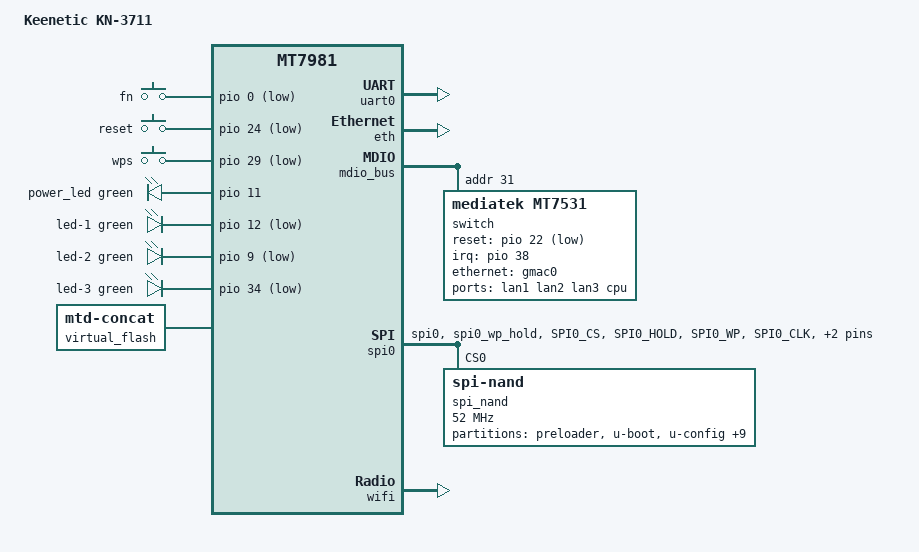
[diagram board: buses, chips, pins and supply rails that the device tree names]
// SPDX-License-Identifier: GPL-2.0-only OR MIT

/dts-v1/;

#include "mt7981b.dtsi"

/ {
	model = "Keenetic KN-3711";
	compatible = "keenetic,kn-3711", "mediatek,mt7981";

	aliases {
		label-mac-device = &gmac0;
		led-boot = &power_led;
		led-failsafe = &power_led;
		led-running = &power_led;
		led-upgrade = &power_led;
		serial0 = &uart0;
	};

	chosen {
		stdout-path = "serial0:115200n8";
	};

	gpio-keys {
		compatible = "gpio-keys";

		switch-fn {
			label = "fn";
			gpios = <&pio 0 GPIO_ACTIVE_LOW>;
			linux,code = <BTN_0>;
			linux,input-type = <EV_SW>;
		};

		button-reset {
			label = "reset";
			gpios = <&pio 24 GPIO_ACTIVE_LOW>;
			linux,code = <KEY_RESTART>;
		};

		button-wps {
			label = "wps";
			gpios = <&pio 29 GPIO_ACTIVE_LOW>;
			linux,code = <KEY_WPS_BUTTON>;
		};
	};

	gpio-leds {
		compatible = "gpio-leds";

		power_led: led-0 {
			color = <LED_COLOR_ID_GREEN>;
			function = LED_FUNCTION_POWER;
			gpios = <&pio 11 GPIO_ACTIVE_HIGH>;
		};

		led-1 {
			color = <LED_COLOR_ID_GREEN>;
			function = LED_FUNCTION_WAN;
			gpios = <&pio 12 GPIO_ACTIVE_LOW>;
		};

		led-2 {
			color = <LED_COLOR_ID_GREEN>;
			function = "fn";
			gpios = <&pio 9 GPIO_ACTIVE_LOW>;
		};

		led-3 {
			color = <LED_COLOR_ID_GREEN>;
			function = LED_FUNCTION_WLAN_2GHZ;
			gpios = <&pio 34 GPIO_ACTIVE_LOW>;
			linux,default-trigger = "phy0tpt";
		};
	};

	virtual_flash {
		compatible = "mtd-concat";
		devices = <&firmware1 &firmware2>;

		partitions {
			compatible = "fixed-partitions";
			#address-cells = <1>;
			#size-cells = <1>;

			partition@0 {
				label = "kernel";
				reg = <0x0 0x600000>;
			};

			partition@600000 {
				label = "ubi";
				reg = <0x600000 0x06000000>;
			};
		};
	};
};

&uart0 {
	status = "okay";
};

&eth {
	status = "okay";

	gmac0: mac@0 {
		compatible = "mediatek,eth-mac";
		reg = <0>;
		phy-mode = "2500base-x";

		nvmem-cell-names = "mac-address";
		nvmem-cells = <&macaddr_factory_4>;

		fixed-link {
			speed = <2500>;
			full-duplex;
			pause;
		};
	};

	mac@1 {
		compatible = "mediatek,eth-mac";
		reg = <1>;
		phy-mode = "gmii";
		phy-handle = <&int_gbe_phy>;
		label = "wan";

		nvmem-cell-names = "mac-address";
		nvmem-cells = <&macaddr_factory_a>;
	};
};

&mdio_bus {
	switch@1f {
		compatible = "mediatek,mt7531";
		reg = <0x1f>;
		reset-gpios = <&pio 22 GPIO_ACTIVE_LOW>;
		interrupt-controller;
		#interrupt-cells = <1>;
		interrupt-parent = <&pio>;
		interrupts = <38 IRQ_TYPE_LEVEL_HIGH>;

		ports {
			#address-cells = <1>;
			#size-cells = <0>;

			port@0 {
				reg = <0>;
				label = "lan1";
			};

			port@1 {
				reg = <1>;
				label = "lan2";
			};

			port@2 {
				reg = <2>;
				label = "lan3";
			};

			port@6 {
				reg = <6>;
				label = "cpu";
				ethernet = <&gmac0>;
				phy-mode = "2500base-x";

				fixed-link {
					speed = <2500>;
					full-duplex;
					pause;
				};
			};
		};
	};
};

&pio {
	spi0_flash_pins: spi0-pins {
		mux {
			function = "spi";
			groups = "spi0", "spi0_wp_hold";
		};

		conf-pu {
			pins = "SPI0_CS", "SPI0_HOLD", "SPI0_WP";
			drive-strength = <MTK_DRIVE_8mA>;
			bias-pull-up = <MTK_PUPD_SET_R1R0_11>;
		};

		conf-pd {
			pins = "SPI0_CLK", "SPI0_MOSI", "SPI0_MISO";
			drive-strength = <MTK_DRIVE_8mA>;
			bias-pull-down = <MTK_PUPD_SET_R1R0_11>;
		};
	};
};

&spi0 {
	pinctrl-names = "default";
	pinctrl-0 = <&spi0_flash_pins>;
	status = "okay";

	/* Winbond W25N01GV SPI NAND (128 MiB) */
	spi_nand@0 {
		#address-cells = <1>;
		#size-cells = <1>;
		compatible = "spi-nand";
		reg = <0>;

		spi-max-frequency = <52000000>;
		spi-tx-buswidth = <4>;
		spi-rx-buswidth = <4>;

		spi-cal-enable;
		spi-cal-mode = "read-data";
		spi-cal-datalen = <7>;
		spi-cal-data = /bits/ 8 <0x53 0x50 0x49 0x4e 0x41 0x4e 0x44>;
		spi-cal-addrlen = <5>;
		spi-cal-addr = /bits/ 32 <0x0 0x0 0x0 0x0 0x0>;

		mediatek,nmbm;
		mediatek,bmt-max-ratio = <1>;
		mediatek,bmt-max-reserved-blocks = <64>;

		partitions {
			compatible = "fixed-partitions";
			#address-cells = <1>;
			#size-cells = <1>;

			/* bl2 */
			partition@0 {
				label = "preloader";
				reg = <0x0 0x80000>;
				read-only;
			};

			/* fip */
			partition@80000 {
				label = "u-boot";
				reg = <0x80000 0x200000>;
				read-only;
			};

			partition@280000 {
				label = "u-config";
				reg = <0x280000 0x80000>;
				read-only;
			};

			partition@300000 {
				label = "rf-eeprom";
				reg = <0x300000 0x200000>;
				read-only;

				nvmem-layout {
					compatible = "fixed-layout";
					#address-cells = <1>;
					#size-cells = <1>;

					eeprom_factory_0: eeprom@0 {
						reg = <0x0 0x1000>;
					};

					/* lan mac */
					macaddr_factory_4: macaddr@4 {
						reg = <0x4 0x6>;
					};

					/* wan mac */
					macaddr_factory_a: macaddr@a {
						reg = <0xa 0x6>;
					};
				};
			};

			firmware1: partition@500000 {
				label = "firmware_1";
				reg = <0x500000 0x3500000>;
			};

			partition@3a00000 {
				label = "config_1";
				reg = <0x3a00000 0x80000>;
				read-only;
			};

			partition@3a80000 {
				label = "dump";
				reg = <0x3a80000 0x80000>;
				read-only;
			};

			partition@3c00000 {
				label = "u-state";
				reg = <0x3c00000 0x20000>;
				read-only;
			};

			partition@3e80000 {
				label = "u-config_res";
				reg = <0x3e80000 0x80000>;
				read-only;
			};

			partition@3f00000 {
				label = "rf-eeprom_res";
				reg = <0x3f00000 0x200000>;
				read-only;
			};

			firmware2: partition@4100000 {
				label = "firmware_2";
				reg = <0x4100000 0x3500000>;
			};

			partition@7600000 {
				label = "config_2";
				reg = <0x7600000 0x80000>;
				read-only;
			};
		};
	};
};

&wifi {
	nvmem-cell-names = "eeprom";
	nvmem-cells = <&eeprom_factory_0>;
	status = "okay";
};
